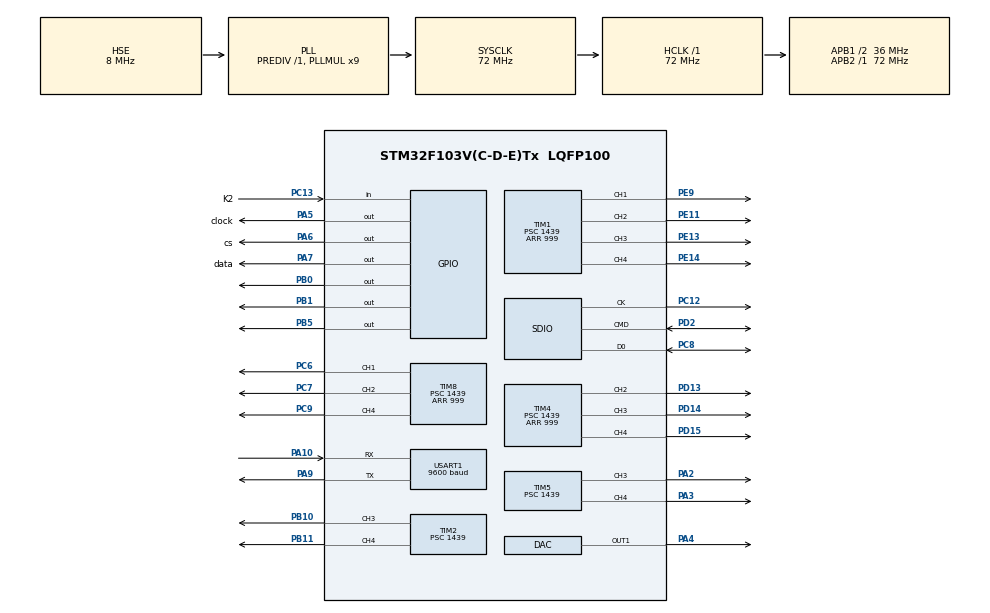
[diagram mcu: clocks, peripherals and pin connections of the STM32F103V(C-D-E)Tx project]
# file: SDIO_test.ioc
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DAC.DAC_Trigger=DAC_TRIGGER_T6_TRGO
Dma.DAC_CH1.0.Direction=DMA_MEMORY_TO_PERIPH
Dma.DAC_CH1.0.Instance=DMA2_Channel3
Dma.DAC_CH1.0.MemDataAlignment=DMA_MDATAALIGN_HALFWORD
Dma.DAC_CH1.0.MemInc=DMA_MINC_ENABLE
Dma.DAC_CH1.0.Mode=DMA_NORMAL
Dma.DAC_CH1.0.PeriphDataAlignment=DMA_PDATAALIGN_HALFWORD
Dma.DAC_CH1.0.PeriphInc=DMA_PINC_DISABLE
Dma.DAC_CH1.0.Priority=DMA_PRIORITY_LOW
Dma.Request0=DAC_CH1
Mcu.Family=STM32F1
Mcu.Name=STM32F103V(C-D-E)Tx
Mcu.Package=LQFP100
NVIC.DMA2_Channel3_IRQn=true\:0\:0\:false\:false\:true\:false\:true
NVIC.PriorityGroup=NVIC_PRIORITYGROUP_4
NVIC.TIM6_IRQn=true\:0\:0\:false\:false\:true\:true\:true
OSC_IN.Mode=HSE-External-Oscillator
OSC_IN.Signal=RCC_OSC_IN
OSC_OUT.Mode=HSE-External-Oscillator
OSC_OUT.Signal=RCC_OSC_OUT
PA10.Mode=Asynchronous
PA10.Signal=USART1_RX
PA13.Mode=Serial_Wire
PA13.Signal=SYS_JTMS-SWDIO
PA14.Mode=Serial_Wire
PA14.Signal=SYS_JTCK-SWCLK
PA2.Signal=S_TIM5_CH3
PA3.Signal=S_TIM5_CH4
PA4.Signal=COMP_DAC1_group
PA5.GPIO_Label=clock
PA5.Signal=GPIO_Output
PA6.GPIO_Label=cs
PA6.Signal=GPIO_Output
PA7.GPIO_Label=data
PA7.Signal=GPIO_Output
PA9.Mode=Asynchronous
PA9.Signal=USART1_TX
PB0.GPIO_Speed=GPIO_SPEED_FREQ_HIGH
PB0.Signal=GPIO_Output
PB1.GPIO_Speed=GPIO_SPEED_FREQ_HIGH
PB1.Signal=GPIO_Output
PB10.Signal=S_TIM2_CH3
PB11.Signal=S_TIM2_CH4
PB5.GPIO_Speed=GPIO_SPEED_FREQ_HIGH
PB5.PinState=GPIO_PIN_SET
PB5.Signal=GPIO_Output
PC12.Mode=SD_1_bit
PC12.Signal=SDIO_CK
PC13-TAMPER-RTC.GPIO_Label=K2
PC13-TAMPER-RTC.Signal=GPIO_Input
PC14-OSC32_IN.Mode=LSE-External-Oscillator
PC14-OSC32_IN.Signal=RCC_OSC32_IN
PC15-OSC32_OUT.Mode=LSE-External-Oscillator
PC15-OSC32_OUT.Signal=RCC_OSC32_OUT
PC6.Signal=S_TIM8_CH1
PC7.Signal=S_TIM8_CH2
PC8.Mode=SD_1_bit
PC8.Signal=SDIO_D0
PC9.Signal=S_TIM8_CH4
PD13.Signal=S_TIM4_CH2
PD14.Signal=S_TIM4_CH3
PD15.Signal=S_TIM4_CH4
PD2.Mode=SD_1_bit
PD2.Signal=SDIO_CMD
PE11.Signal=S_TIM1_CH2
PE13.Signal=S_TIM1_CH3
PE14.Signal=S_TIM1_CH4
PE9.Signal=S_TIM1_CH1
ProjectManager.HeapSize=0x2000
ProjectManager.StackSize=0x4000
ProjectManager.TargetToolchain=MDK-ARM V5
RCC.AHBFreq_Value=72000000
RCC.APB1CLKDivider=RCC_HCLK_DIV2
RCC.APB1Freq_Value=36000000
RCC.APB1TimFreq_Value=72000000
RCC.APB2Freq_Value=72000000
RCC.APB2TimFreq_Value=72000000
RCC.HCLKFreq_Value=72000000
RCC.PLLMUL=RCC_PLL_MUL9
RCC.PLLSourceVirtual=RCC_PLLSOURCE_HSE
RCC.SYSCLKFreq_VALUE=72000000
RCC.SYSCLKSource=RCC_SYSCLKSOURCE_PLLCLK
RCC.USBFreq_Value=72000000
SDIO.ClockDiv=4
SH.COMP_DAC1_group.0=DAC_OUT1,DAC_OUT1
SH.S_TIM1_CH1.0=TIM1_CH1,PWM Generation1 CH1
SH.S_TIM1_CH2.0=TIM1_CH2,PWM Generation2 CH2
SH.S_TIM1_CH3.0=TIM1_CH3,PWM Generation3 CH3
SH.S_TIM1_CH4.0=TIM1_CH4,PWM Generation4 CH4
SH.S_TIM2_CH3.0=TIM2_CH3,PWM Generation3 CH3
SH.S_TIM2_CH4.0=TIM2_CH4,PWM Generation4 CH4
SH.S_TIM4_CH2.0=TIM4_CH2,PWM Generation2 CH2
SH.S_TIM4_CH3.0=TIM4_CH3,PWM Generation3 CH3
SH.S_TIM4_CH4.0=TIM4_CH4,PWM Generation4 CH4
SH.S_TIM5_CH3.0=TIM5_CH3,PWM Generation3 CH3
SH.S_TIM5_CH4.0=TIM5_CH4,PWM Generation4 CH4
SH.S_TIM8_CH1.0=TIM8_CH1,PWM Generation1 CH1
SH.S_TIM8_CH2.0=TIM8_CH2,PWM Generation2 CH2
SH.S_TIM8_CH4.0=TIM8_CH4,PWM Generation4 CH4
TIM1.Channel-PWM\ Generation1\ CH1=TIM_CHANNEL_1
TIM1.Channel-PWM\ Generation2\ CH2=TIM_CHANNEL_2
TIM1.Channel-PWM\ Generation3\ CH3=TIM_CHANNEL_3
TIM1.Channel-PWM\ Generation4\ CH4=TIM_CHANNEL_4
TIM1.Period=999
TIM1.Prescaler=1439
TIM2.Channel-PWM\ Generation3\ CH3=TIM_CHANNEL_3
TIM2.Channel-PWM\ Generation4\ CH4=TIM_CHANNEL_4
TIM2.Period=999
TIM2.Prescaler=1439
TIM4.Channel-PWM\ Generation2\ CH2=TIM_CHANNEL_2
TIM4.Channel-PWM\ Generation3\ CH3=TIM_CHANNEL_3
TIM4.Channel-PWM\ Generation4\ CH4=TIM_CHANNEL_4
TIM4.Period=999
TIM4.Prescaler=1439
TIM5.Channel-PWM\ Generation3\ CH3=TIM_CHANNEL_3
TIM5.Channel-PWM\ Generation4\ CH4=TIM_CHANNEL_4
TIM5.Period=999
TIM5.Prescaler=1439
TIM6.Period=8999
TIM6.Prescaler=0
TIM6.TIM_MasterOutputTrigger=TIM_TRGO_UPDATE
TIM8.Channel-PWM\ Generation1\ CH1=TIM_CHANNEL_1
TIM8.Channel-PWM\ Generation2\ CH2=TIM_CHANNEL_2
TIM8.Channel-PWM\ Generation4\ CH4=TIM_CHANNEL_4
TIM8.Period=999
TIM8.Prescaler=1439
USART1.BaudRate=9600
USART1.VirtualMode=VM_ASYNC
VP_FATFS_VS_SDIO.Mode=SDIO
VP_TIM1_VS_ClockSourceINT.Mode=Internal
VP_TIM2_VS_ClockSourceINT.Mode=Internal
VP_TIM4_VS_ClockSourceINT.Mode=Internal
VP_TIM5_VS_ClockSourceINT.Mode=Internal
VP_TIM6_VS_ClockSourceINT.Mode=Enable_Timer
VP_TIM8_VS_ClockSourceINT.Mode=Internal
board=custom

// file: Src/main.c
/* USER CODE BEGIN Header */
/**
  ******************************************************************************
  * @file           : main.c
  * @brief          : Main program body
  ******************************************************************************
  * @attention
  *
  * <h2><center>&copy; Copyright (c) 2019 STMicroelectronics.
  * All rights reserved.</center></h2>
  *
  * This software component is licensed by ST under Ultimate Liberty license
  * SLA0044, the "License"; You may not use this file except in compliance with
  * the License. You may obtain a copy of the License at:
  *                             www.st.com/SLA0044
  *
  ******************************************************************************
  */
/* USER CODE END Header */

#include "main.h"
#include "fatfs.h"

/* USER CODE BEGIN Includes */
#include "led.h"
#include "servo.h"
#include "sound.h"
/* USER CODE END Includes */

DAC_HandleTypeDef hdac;
DMA_HandleTypeDef hdma_dac_ch1;

SD_HandleTypeDef hsd;

TIM_HandleTypeDef htim1;
TIM_HandleTypeDef htim2;
TIM_HandleTypeDef htim4;
TIM_HandleTypeDef htim5;
TIM_HandleTypeDef htim6;
TIM_HandleTypeDef htim8;

UART_HandleTypeDef huart1;

/* USER CODE BEGIN PV */

/*
uint16_t sine_wave_array[32] = {2047, 1648, 1264, 910, 600,  345,
                    156, 39,  0,  39,  156,  345,
                    600, 910, 1264, 1648, 2048, 2447,
                    2831, 3185, 3495, 3750, 3939, 4056,
                    4095, 4056, 3939, 3750, 3495, 3185,
                    2831, 2447};
  */
uint16_t sine_wave_array[32] = {0xFF,0,0,0,0,0,0,0,0,0,0,0,0,0,0,0,0,0,0,0,0,0,0,0,0,0,0,0,0,0,0,0};

/* USER CODE END PV */

void SystemClock_Config(void);
static void MX_GPIO_Init(void);
static void MX_DMA_Init(void);
static void MX_SDIO_SD_Init(void);
static void MX_DAC_Init(void);
static void MX_TIM1_Init(void);
static void MX_TIM2_Init(void);
static void MX_TIM4_Init(void);
static void MX_TIM5_Init(void);
static void MX_TIM6_Init(void);
static void MX_TIM8_Init(void);
static void MX_USART1_UART_Init(void);

/* USER CODE BEGIN 0 */

uint8_t strK1[]="K1 is Pressed\n";
uint8_t strK2[]="K2 is Pressed\n";
uint8_t Rxstr[1];
FATFS myFATFS;

/*  // new sound version test
uint16_t wav_buffer1[1000];
uint16_t wav_buffer2[1000];
int wav_size = 1000;
FIL myFILE;

UINT numberofbytes =2;
char myPath[] = "TEST.TXT\0";
void data_shift_right_4 (uint16_t x[1000]){
	for(int i=0;i<1000;i++){
		x[i] = x[i]>>4;    // shift right by 4
		if(x[i]<0x800){ x[i]=0x800+x[i];}// zero is at 2048 (0x800),for any value smaller than 0x800 need to be 2048-x
		else{x[i]=x[i]-0x800;}     // Signed int , 0xFFF is 1, so consider smaller than
	}
}

void pullData(void) {

	f_read(&myFILE,wav_buffer1, sizeof(wav_buffer1)*2, &numberofbytes);
	data_shift_right_4(wav_buffer1);
}

uint32_t getUs(void) {
uint32_t usTicks = HAL_RCC_GetSysClockFreq() / 1000000;
register uint32_t ms, cycle_cnt;
do {
ms = HAL_GetTick();
cycle_cnt = SysTick->VAL;
} while (ms != HAL_GetTick());
return (ms * 1000) + (usTicks * 1000 - cycle_cnt) / usTicks;
}
void delayus(uint16_t micros) {
uint32_t start = getUs();
while (getUs()-start < (uint32_t) micros) {__ASM("nop");}
}
*/

/* USER CODE END 0 */

int main(void)
{

  /* MCU Configuration--------------------------------------------------------*/

  /* Reset of all peripherals, Initializes the Flash interface and the Systick. */
  HAL_Init();

  /* Configure the system clock */
  SystemClock_Config();

  /* Initialize all configured peripherals */
  MX_GPIO_Init();
  MX_DMA_Init();
  MX_SDIO_SD_Init();
  MX_FATFS_Init();
  MX_DAC_Init();
  MX_TIM1_Init();
  MX_TIM2_Init();
  MX_TIM4_Init();
  MX_TIM5_Init();
  MX_TIM6_Init();
  MX_TIM8_Init();
  MX_USART1_UART_Init();
  /* USER CODE BEGIN 2 */

	FRESULT res;

	// Led matrix part
	max_init (); //  from the led.h
	led_startup ();
	HAL_Delay(1000);
	// Led matrix part

	// Servo init
	// Timer 1
 HAL_TIM_PWM_Start(t1, ch1);  //E9  O
 HAL_TIM_PWM_Start(t1, ch2);  //E11 O
 HAL_TIM_PWM_Start(t1, ch3);  //E13 O
 HAL_TIM_PWM_Start(t1, ch4);  //E14 O
 // Timer 2
 HAL_TIM_PWM_Start(t2, ch3);	//B10 O
 HAL_TIM_PWM_Start(t2, ch4);	//B11 O
 // Timer 3 (8)
 HAL_TIM_PWM_Start(t3, ch1);	//C6 O
 HAL_TIM_PWM_Start(t3, ch2);  //C7 O
 HAL_TIM_PWM_Start(t3, ch4);  //C9 O
 // Timer 4
 HAL_TIM_PWM_Start(t4, ch2);  //D13 O
 HAL_TIM_PWM_Start(t4, ch3);	//D14 O
 HAL_TIM_PWM_Start(t4, ch4);	//D15 O
 // Timer 5
 HAL_TIM_PWM_Start(t5, ch3);	//A2 O
 HAL_TIM_PWM_Start(t5, ch4);	//A3 O
 servo_stand();
// Servo init
HAL_DAC_Stop_DMA(&hdac, DAC_CHANNEL_1);
HAL_DAC_Start(&hdac,DAC_CHANNEL_1);

  res = f_mount(&myFATFS,SDPath,1);
	if (res == FR_OK)
	{
		HAL_GPIO_WritePin(GPIOB, GPIO_PIN_0,GPIO_PIN_RESET);

		/* // new sound test
		f_open(&myFILE, myPath, FA_WRITE |FA_CREATE_ALWAYS);
		f_write(&myFILE, wav_buffer1, sizeof(wav_buffer1), &numberofbytes);
		f_close(&myFILE);
		HAL_Delay(1000);

		res = f_open(&myFILE, "ta2.wav\0", FA_READ |FA_OPEN_ALWAYS);
		// data locate part
			char locate[4];
			const char word[4]= "data";
			int count =0;
			while(strncmp(locate,word,4)){
			count++;
			res = f_lseek(&myFILE,count);
			f_read(&myFILE,locate, 4, &numberofbytes);
			}
			f_close(&myFILE);
		// data locate part end

*/
		/*		 // Version 1

			HAL_DAC_Stop_DMA(&hdac, DAC_CHANNEL_1);
			f_read(&myFILE, wav_buffer2, 8000, &numberofbytes);
			data_shift_right_4(wav_buffer2);
			HAL_DAC_Start_DMA(&hdac, DAC_CHANNEL_1, (uint32_t*)wav_buffer2, 4000, DAC_ALIGN_12B_R);

			int wav_buffer_flag =1;
				while(!f_eof(&myFILE)){

					if (HAL_DMA_STATE_READY == HAL_DMA_GetState(&hdma_dac_ch1)){  // only true when it is not busy

					HAL_DAC_Stop_DMA(&hdac, DAC_CHANNEL_1);

					if(wav_buffer_flag == 0){
					f_read(&myFILE, wav_buffer1, 8000, &numberofbytes);
					data_shift_right_4(wav_buffer1);  // shift the data to right by 4
					HAL_DAC_Start_DMA(&hdac, DAC_CHANNEL_1, (uint32_t*)wav_buffer2, 4000, DAC_ALIGN_12B_R);
					wav_buffer_flag = 1;
					}else{
					f_read(&myFILE, wav_buffer2, 8000, &numberofbytes);
					data_shift_right_4(wav_buffer2);  // shift the data to right by 4
					HAL_DAC_Start_DMA(&hdac, DAC_CHANNEL_1, (uint32_t*)wav_buffer1, 4000, DAC_ALIGN_12B_R);
					wav_buffer_flag = 0;
					}
					}

				}
					HAL_DAC_Stop_DMA(&hdac, DAC_CHANNEL_1);
		f_close(&myFILE);

		*/   // end of version 1

		/*		// Version 2

				while(!f_eof(&myFILE)){
				f_read(&myFILE, wav_buffer1, 2000, &numberofbytes);
				data_shift_right_4(wav_buffer1);
					for(int i = 0; i<1000;i++){
						HAL_DAC_SetValue(&hdac, DAC_CHANNEL_1,DAC_ALIGN_12B_R,wav_buffer1[i]);
						delayus(125);
						//HAL_Delay(1);
					}
				}
				f_close(&myFILE);

		*/		// end of Version 2

		player("ta.wav\0");

		HAL_GPIO_WritePin(GPIOB, GPIO_PIN_0,GPIO_PIN_SET);
		HAL_Delay(1000);
//		f_open(&myFILE, myPath, FA_WRITE |FA_OPEN_ALWAYS);
//		f_write(&myFILE, wav_buffer1, sizeof(wav_buffer1), &numberofbytes);
//		f_close(&myFILE);

		HAL_GPIO_WritePin(GPIOB, GPIO_PIN_1,GPIO_PIN_RESET);
 	}
	else
	{
		HAL_GPIO_WritePin(GPIOB, GPIO_PIN_5,GPIO_PIN_RESET);
	}
  /* USER CODE END 2 */

  /* Infinite loop */
  while (1)
  {

    /* USER CODE BEGIN 3 */

				if (HAL_GPIO_ReadPin(GPIOC, GPIO_PIN_13) == GPIO_PIN_SET) {
			HAL_UART_Transmit(&huart1,strK2,sizeof(strK2)-1,100);
		}

				if (HAL_UART_Receive(&huart1,Rxstr,1,100)==HAL_OK) {
		  if (Rxstr[0] == 0x30) {
				HAL_GPIO_WritePin(GPIOB, GPIO_PIN_0|GPIO_PIN_1|GPIO_PIN_5, GPIO_PIN_SET);
				write_string ("AB");
			}
			else if (Rxstr[0] == 'R') {
				HAL_GPIO_WritePin(GPIOB, GPIO_PIN_0|GPIO_PIN_1, GPIO_PIN_SET);
				HAL_GPIO_WritePin(GPIOB, GPIO_PIN_5, GPIO_PIN_RESET);
				led_d_face(d_face);
				servo_stand();
			}
			else if (Rxstr[0] == 'G') {
				HAL_GPIO_WritePin(GPIOB, GPIO_PIN_5|GPIO_PIN_1, GPIO_PIN_SET);
				HAL_GPIO_WritePin(GPIOB, GPIO_PIN_0, GPIO_PIN_RESET);
				led_d_face(d_left);
				servo_turn_right(1);
			}
			else if (Rxstr[0] == 'B') {
				HAL_GPIO_WritePin(GPIOB, GPIO_PIN_5|GPIO_PIN_0, GPIO_PIN_SET);
				HAL_GPIO_WritePin(GPIOB, GPIO_PIN_1, GPIO_PIN_RESET);
				led_d_face(d_right);
				servo_turn_left(1);
			}
			else if (Rxstr[0] == 'K') {
				servo_init_walking();
				while(1){
				servo_walking_forward();
				if (HAL_UART_Receive(&huart1,Rxstr,1,100)==HAL_OK && Rxstr[0] == 'S' ) break;
				}
				servo_stand();
			}
				HAL_UART_Transmit(&huart1,Rxstr,sizeof(Rxstr),100);
		}
		led_d_face(blink);
		//	Delay_us(500);

  }
  /* USER CODE END 3 */
}

void SystemClock_Config(void)
{
  RCC_OscInitTypeDef RCC_OscInitStruct = {0};
  RCC_ClkInitTypeDef RCC_ClkInitStruct = {0};

  /** Initializes the CPU, AHB and APB busses clocks
  */
  RCC_OscInitStruct.OscillatorType = RCC_OSCILLATORTYPE_HSE;
  RCC_OscInitStruct.HSEState = RCC_HSE_ON;
  RCC_OscInitStruct.HSEPredivValue = RCC_HSE_PREDIV_DIV1;
  RCC_OscInitStruct.HSIState = RCC_HSI_ON;
  RCC_OscInitStruct.PLL.PLLState = RCC_PLL_ON;
  RCC_OscInitStruct.PLL.PLLSource = RCC_PLLSOURCE_HSE;
  RCC_OscInitStruct.PLL.PLLMUL = RCC_PLL_MUL9;
  if (HAL_RCC_OscConfig(&RCC_OscInitStruct) != HAL_OK)
  {
    Error_Handler();
  }
  /** Initializes the CPU, AHB and APB busses clocks
  */
  RCC_ClkInitStruct.ClockType = RCC_CLOCKTYPE_HCLK|RCC_CLOCKTYPE_SYSCLK
                              |RCC_CLOCKTYPE_PCLK1|RCC_CLOCKTYPE_PCLK2;
  RCC_ClkInitStruct.SYSCLKSource = RCC_SYSCLKSOURCE_PLLCLK;
  RCC_ClkInitStruct.AHBCLKDivider = RCC_SYSCLK_DIV1;
  RCC_ClkInitStruct.APB1CLKDivider = RCC_HCLK_DIV2;
  RCC_ClkInitStruct.APB2CLKDivider = RCC_HCLK_DIV1;

  if (HAL_RCC_ClockConfig(&RCC_ClkInitStruct, FLASH_LATENCY_2) != HAL_OK)
  {
    Error_Handler();
  }
}

static void MX_DAC_Init(void)
{

  DAC_ChannelConfTypeDef sConfig = {0};

  /** DAC Initialization
  */
  hdac.Instance = DAC;
  if (HAL_DAC_Init(&hdac) != HAL_OK)
  {
    Error_Handler();
  }
  /** DAC channel OUT1 config
  */
  sConfig.DAC_Trigger = DAC_TRIGGER_T6_TRGO;
  sConfig.DAC_OutputBuffer = DAC_OUTPUTBUFFER_ENABLE;
  if (HAL_DAC_ConfigChannel(&hdac, &sConfig, DAC_CHANNEL_1) != HAL_OK)
  {
    Error_Handler();
  }

}

static void MX_SDIO_SD_Init(void)
{

  hsd.Instance = SDIO;
  hsd.Init.ClockEdge = SDIO_CLOCK_EDGE_RISING;
  hsd.Init.ClockBypass = SDIO_CLOCK_BYPASS_DISABLE;
  hsd.Init.ClockPowerSave = SDIO_CLOCK_POWER_SAVE_DISABLE;
  hsd.Init.BusWide = SDIO_BUS_WIDE_1B;
  hsd.Init.HardwareFlowControl = SDIO_HARDWARE_FLOW_CONTROL_DISABLE;
  hsd.Init.ClockDiv = 4;

}

static void MX_TIM1_Init(void)
{

  TIM_ClockConfigTypeDef sClockSourceConfig = {0};
  TIM_MasterConfigTypeDef sMasterConfig = {0};
  TIM_OC_InitTypeDef sConfigOC = {0};
  TIM_BreakDeadTimeConfigTypeDef sBreakDeadTimeConfig = {0};

  htim1.Instance = TIM1;
  htim1.Init.Prescaler = 1439;
  htim1.Init.CounterMode = TIM_COUNTERMODE_UP;
  htim1.Init.Period = 999;
  htim1.Init.ClockDivision = TIM_CLOCKDIVISION_DIV1;
  htim1.Init.RepetitionCounter = 0;
  htim1.Init.AutoReloadPreload = TIM_AUTORELOAD_PRELOAD_DISABLE;
  if (HAL_TIM_Base_Init(&htim1) != HAL_OK)
  {
    Error_Handler();
  }
  sClockSourceConfig.ClockSource = TIM_CLOCKSOURCE_INTERNAL;
  if (HAL_TIM_ConfigClockSource(&htim1, &sClockSourceConfig) != HAL_OK)
  {
    Error_Handler();
  }
  if (HAL_TIM_PWM_Init(&htim1) != HAL_OK)
  {
    Error_Handler();
  }
  sMasterConfig.MasterOutputTrigger = TIM_TRGO_RESET;
  sMasterConfig.MasterSlaveMode = TIM_MASTERSLAVEMODE_DISABLE;
  if (HAL_TIMEx_MasterConfigSynchronization(&htim1, &sMasterConfig) != HAL_OK)
  {
    Error_Handler();
  }
  sConfigOC.OCMode = TIM_OCMODE_PWM1;
  sConfigOC.Pulse = 0;
  sConfigOC.OCPolarity = TIM_OCPOLARITY_HIGH;
  sConfigOC.OCNPolarity = TIM_OCNPOLARITY_HIGH;
  sConfigOC.OCFastMode = TIM_OCFAST_DISABLE;
  sConfigOC.OCIdleState = TIM_OCIDLESTATE_RESET;
  sConfigOC.OCNIdleState = TIM_OCNIDLESTATE_RESET;
  if (HAL_TIM_PWM_ConfigChannel(&htim1, &sConfigOC, TIM_CHANNEL_1) != HAL_OK)
  {
    Error_Handler();
  }
  if (HAL_TIM_PWM_ConfigChannel(&htim1, &sConfigOC, TIM_CHANNEL_2) != HAL_OK)
  {
    Error_Handler();
  }
  if (HAL_TIM_PWM_ConfigChannel(&htim1, &sConfigOC, TIM_CHANNEL_3) != HAL_OK)
  {
    Error_Handler();
  }
  if (HAL_TIM_PWM_ConfigChannel(&htim1, &sConfigOC, TIM_CHANNEL_4) != HAL_OK)
  {
    Error_Handler();
  }
  sBreakDeadTimeConfig.OffStateRunMode = TIM_OSSR_DISABLE;
  sBreakDeadTimeConfig.OffStateIDLEMode = TIM_OSSI_DISABLE;
  sBreakDeadTimeConfig.LockLevel = TIM_LOCKLEVEL_OFF;
  sBreakDeadTimeConfig.DeadTime = 0;
  sBreakDeadTimeConfig.BreakState = TIM_BREAK_DISABLE;
  sBreakDeadTimeConfig.BreakPolarity = TIM_BREAKPOLARITY_HIGH;
  sBreakDeadTimeConfig.AutomaticOutput = TIM_AUTOMATICOUTPUT_DISABLE;
  if (HAL_TIMEx_ConfigBreakDeadTime(&htim1, &sBreakDeadTimeConfig) != HAL_OK)
  {
    Error_Handler();
  }
  HAL_TIM_MspPostInit(&htim1);

}

static void MX_TIM2_Init(void)
{

  TIM_ClockConfigTypeDef sClockSourceConfig = {0};
  TIM_MasterConfigTypeDef sMasterConfig = {0};
  TIM_OC_InitTypeDef sConfigOC = {0};

  htim2.Instance = TIM2;
  htim2.Init.Prescaler = 1439;
  htim2.Init.CounterMode = TIM_COUNTERMODE_UP;
  htim2.Init.Period = 999;
  htim2.Init.ClockDivision = TIM_CLOCKDIVISION_DIV1;
  htim2.Init.AutoReloadPreload = TIM_AUTORELOAD_PRELOAD_DISABLE;
  if (HAL_TIM_Base_Init(&htim2) != HAL_OK)
  {
    Error_Handler();
  }
  sClockSourceConfig.ClockSource = TIM_CLOCKSOURCE_INTERNAL;
  if (HAL_TIM_ConfigClockSource(&htim2, &sClockSourceConfig) != HAL_OK)
  {
    Error_Handler();
  }
  if (HAL_TIM_PWM_Init(&htim2) != HAL_OK)
  {
    Error_Handler();
  }
  sMasterConfig.MasterOutputTrigger = TIM_TRGO_RESET;
  sMasterConfig.MasterSlaveMode = TIM_MASTERSLAVEMODE_DISABLE;
  if (HAL_TIMEx_MasterConfigSynchronization(&htim2, &sMasterConfig) != HAL_OK)
  {
    Error_Handler();
  }
  sConfigOC.OCMode = TIM_OCMODE_PWM1;
  sConfigOC.Pulse = 0;
  sConfigOC.OCPolarity = TIM_OCPOLARITY_HIGH;
  sConfigOC.OCFastMode = TIM_OCFAST_DISABLE;
  if (HAL_TIM_PWM_ConfigChannel(&htim2, &sConfigOC, TIM_CHANNEL_3) != HAL_OK)
  {
    Error_Handler();
  }
  if (HAL_TIM_PWM_ConfigChannel(&htim2, &sConfigOC, TIM_CHANNEL_4) != HAL_OK)
  {
    Error_Handler();
  }
  HAL_TIM_MspPostInit(&htim2);

}

static void MX_TIM4_Init(void)
{

  TIM_ClockConfigTypeDef sClockSourceConfig = {0};
  TIM_MasterConfigTypeDef sMasterConfig = {0};
  TIM_OC_InitTypeDef sConfigOC = {0};

  htim4.Instance = TIM4;
  htim4.Init.Prescaler = 1439;
  htim4.Init.CounterMode = TIM_COUNTERMODE_UP;
  htim4.Init.Period = 999;
  htim4.Init.ClockDivision = TIM_CLOCKDIVISION_DIV1;
  htim4.Init.AutoReloadPreload = TIM_AUTORELOAD_PRELOAD_DISABLE;
  if (HAL_TIM_Base_Init(&htim4) != HAL_OK)
  {
    Error_Handler();
  }
  sClockSourceConfig.ClockSource = TIM_CLOCKSOURCE_INTERNAL;
  if (HAL_TIM_ConfigClockSource(&htim4, &sClockSourceConfig) != HAL_OK)
  {
    Error_Handler();
  }
  if (HAL_TIM_PWM_Init(&htim4) != HAL_OK)
  {
    Error_Handler();
  }
  sMasterConfig.MasterOutputTrigger = TIM_TRGO_RESET;
  sMasterConfig.MasterSlaveMode = TIM_MASTERSLAVEMODE_DISABLE;
  if (HAL_TIMEx_MasterConfigSynchronization(&htim4, &sMasterConfig) != HAL_OK)
  {
    Error_Handler();
  }
  sConfigOC.OCMode = TIM_OCMODE_PWM1;
  sConfigOC.Pulse = 0;
  sConfigOC.OCPolarity = TIM_OCPOLARITY_HIGH;
  sConfigOC.OCFastMode = TIM_OCFAST_DISABLE;
  if (HAL_TIM_PWM_ConfigChannel(&htim4, &sConfigOC, TIM_CHANNEL_2) != HAL_OK)
  {
    Error_Handler();
  }
  if (HAL_TIM_PWM_ConfigChannel(&htim4, &sConfigOC, TIM_CHANNEL_3) != HAL_OK)
  {
    Error_Handler();
  }
  if (HAL_TIM_PWM_ConfigChannel(&htim4, &sConfigOC, TIM_CHANNEL_4) != HAL_OK)
  {
    Error_Handler();
  }
  HAL_TIM_MspPostInit(&htim4);

}

static void MX_TIM5_Init(void)
{

  TIM_ClockConfigTypeDef sClockSourceConfig = {0};
  TIM_MasterConfigTypeDef sMasterConfig = {0};
  TIM_OC_InitTypeDef sConfigOC = {0};

  htim5.Instance = TIM5;
  htim5.Init.Prescaler = 1439;
  htim5.Init.CounterMode = TIM_COUNTERMODE_UP;
  htim5.Init.Period = 999;
  htim5.Init.ClockDivision = TIM_CLOCKDIVISION_DIV1;
  htim5.Init.AutoReloadPreload = TIM_AUTORELOAD_PRELOAD_DISABLE;
  if (HAL_TIM_Base_Init(&htim5) != HAL_OK)
  {
    Error_Handler();
  }
  sClockSourceConfig.ClockSource = TIM_CLOCKSOURCE_INTERNAL;
  if (HAL_TIM_ConfigClockSource(&htim5, &sClockSourceConfig) != HAL_OK)
  {
    Error_Handler();
  }
  if (HAL_TIM_PWM_Init(&htim5) != HAL_OK)
  {
    Error_Handler();
  }
  sMasterConfig.MasterOutputTrigger = TIM_TRGO_RESET;
  sMasterConfig.MasterSlaveMode = TIM_MASTERSLAVEMODE_DISABLE;
  if (HAL_TIMEx_MasterConfigSynchronization(&htim5, &sMasterConfig) != HAL_OK)
  {
    Error_Handler();
  }
  sConfigOC.OCMode = TIM_OCMODE_PWM1;
  sConfigOC.Pulse = 0;
  sConfigOC.OCPolarity = TIM_OCPOLARITY_HIGH;
  sConfigOC.OCFastMode = TIM_OCFAST_DISABLE;
  if (HAL_TIM_PWM_ConfigChannel(&htim5, &sConfigOC, TIM_CHANNEL_3) != HAL_OK)
  {
    Error_Handler();
  }
  if (HAL_TIM_PWM_ConfigChannel(&htim5, &sConfigOC, TIM_CHANNEL_4) != HAL_OK)
  {
    Error_Handler();
  }
  HAL_TIM_MspPostInit(&htim5);

}

static void MX_TIM6_Init(void)
{

  TIM_MasterConfigTypeDef sMasterConfig = {0};

  htim6.Instance = TIM6;
  htim6.Init.Prescaler = 0;
  htim6.Init.CounterMode = TIM_COUNTERMODE_UP;
  htim6.Init.Period = 8999;
  htim6.Init.AutoReloadPreload = TIM_AUTORELOAD_PRELOAD_DISABLE;
  if (HAL_TIM_Base_Init(&htim6) != HAL_OK)
  {
    Error_Handler();
  }
  sMasterConfig.MasterOutputTrigger = TIM_TRGO_UPDATE;
  sMasterConfig.MasterSlaveMode = TIM_MASTERSLAVEMODE_DISABLE;
  if (HAL_TIMEx_MasterConfigSynchronization(&htim6, &sMasterConfig) != HAL_OK)
  {
    Error_Handler();
  }

}

static void MX_TIM8_Init(void)
{

  TIM_ClockConfigTypeDef sClockSourceConfig = {0};
  TIM_MasterConfigTypeDef sMasterConfig = {0};
  TIM_OC_InitTypeDef sConfigOC = {0};
  TIM_BreakDeadTimeConfigTypeDef sBreakDeadTimeConfig = {0};

  htim8.Instance = TIM8;
  htim8.Init.Prescaler = 1439;
  htim8.Init.CounterMode = TIM_COUNTERMODE_UP;
  htim8.Init.Period = 999;
  htim8.Init.ClockDivision = TIM_CLOCKDIVISION_DIV1;
  htim8.Init.RepetitionCounter = 0;
  htim8.Init.AutoReloadPreload = TIM_AUTORELOAD_PRELOAD_DISABLE;
  if (HAL_TIM_Base_Init(&htim8) != HAL_OK)
  {
    Error_Handler();
  }
  sClockSourceConfig.ClockSource = TIM_CLOCKSOURCE_INTERNAL;
  if (HAL_TIM_ConfigClockSource(&htim8, &sClockSourceConfig) != HAL_OK)
  {
    Error_Handler();
  }
  if (HAL_TIM_PWM_Init(&htim8) != HAL_OK)
  {
    Error_Handler();
  }
  sMasterConfig.MasterOutputTrigger = TIM_TRGO_RESET;
  sMasterConfig.MasterSlaveMode = TIM_MASTERSLAVEMODE_DISABLE;
  if (HAL_TIMEx_MasterConfigSynchronization(&htim8, &sMasterConfig) != HAL_OK)
  {
    Error_Handler();
  }
  sConfigOC.OCMode = TIM_OCMODE_PWM1;
  sConfigOC.Pulse = 0;
  sConfigOC.OCPolarity = TIM_OCPOLARITY_HIGH;
  sConfigOC.OCNPolarity = TIM_OCNPOLARITY_HIGH;
  sConfigOC.OCFastMode = TIM_OCFAST_DISABLE;
  sConfigOC.OCIdleState = TIM_OCIDLESTATE_RESET;
  sConfigOC.OCNIdleState = TIM_OCNIDLESTATE_RESET;
  if (HAL_TIM_PWM_ConfigChannel(&htim8, &sConfigOC, TIM_CHANNEL_1) != HAL_OK)
  {
    Error_Handler();
  }
  if (HAL_TIM_PWM_ConfigChannel(&htim8, &sConfigOC, TIM_CHANNEL_2) != HAL_OK)
  {
    Error_Handler();
  }
  if (HAL_TIM_PWM_ConfigChannel(&htim8, &sConfigOC, TIM_CHANNEL_4) != HAL_OK)
  {
    Error_Handler();
  }
  sBreakDeadTimeConfig.OffStateRunMode = TIM_OSSR_DISABLE;
  sBreakDeadTimeConfig.OffStateIDLEMode = TIM_OSSI_DISABLE;
  sBreakDeadTimeConfig.LockLevel = TIM_LOCKLEVEL_OFF;
  sBreakDeadTimeConfig.DeadTime = 0;
  sBreakDeadTimeConfig.BreakState = TIM_BREAK_DISABLE;
  sBreakDeadTimeConfig.BreakPolarity = TIM_BREAKPOLARITY_HIGH;
  sBreakDeadTimeConfig.AutomaticOutput = TIM_AUTOMATICOUTPUT_DISABLE;
  if (HAL_TIMEx_ConfigBreakDeadTime(&htim8, &sBreakDeadTimeConfig) != HAL_OK)
  {
    Error_Handler();
  }
  HAL_TIM_MspPostInit(&htim8);

}

static void MX_USART1_UART_Init(void)
{

  huart1.Instance = USART1;
  huart1.Init.BaudRate = 9600;
  huart1.Init.WordLength = UART_WORDLENGTH_8B;
  huart1.Init.StopBits = UART_STOPBITS_1;
  huart1.Init.Parity = UART_PARITY_NONE;
  huart1.Init.Mode = UART_MODE_TX_RX;
  huart1.Init.HwFlowCtl = UART_HWCONTROL_NONE;
  huart1.Init.OverSampling = UART_OVERSAMPLING_16;
  if (HAL_UART_Init(&huart1) != HAL_OK)
  {
    Error_Handler();
  }

}

static void MX_DMA_Init(void)
{
  /* DMA controller clock enable */
  __HAL_RCC_DMA2_CLK_ENABLE();

  /* DMA interrupt init */
  /* DMA2_Channel3_IRQn interrupt configuration */
  HAL_NVIC_SetPriority(DMA2_Channel3_IRQn, 0, 0);
  HAL_NVIC_EnableIRQ(DMA2_Channel3_IRQn);

}

static void MX_GPIO_Init(void)
{
  GPIO_InitTypeDef GPIO_InitStruct = {0};

  /* GPIO Ports Clock Enable */
  __HAL_RCC_GPIOC_CLK_ENABLE();
  __HAL_RCC_GPIOA_CLK_ENABLE();
  __HAL_RCC_GPIOB_CLK_ENABLE();
  __HAL_RCC_GPIOE_CLK_ENABLE();
  __HAL_RCC_GPIOD_CLK_ENABLE();

  /*Configure GPIO pin Output Level */
  HAL_GPIO_WritePin(GPIOA, clock_Pin|cs_Pin|data_Pin, GPIO_PIN_RESET);

  /*Configure GPIO pin Output Level */
  HAL_GPIO_WritePin(GPIOB, GPIO_PIN_0|GPIO_PIN_1, GPIO_PIN_RESET);

  /*Configure GPIO pin Output Level */
  HAL_GPIO_WritePin(GPIOB, GPIO_PIN_5, GPIO_PIN_SET);

  /*Configure GPIO pin : K2_Pin */
  GPIO_InitStruct.Pin = K2_Pin;
  GPIO_InitStruct.Mode = GPIO_MODE_INPUT;
  GPIO_InitStruct.Pull = GPIO_NOPULL;
  HAL_GPIO_Init(K2_GPIO_Port, &GPIO_InitStruct);

  /*Configure GPIO pins : clock_Pin cs_Pin data_Pin */
  GPIO_InitStruct.Pin = clock_Pin|cs_Pin|data_Pin;
  GPIO_InitStruct.Mode = GPIO_MODE_OUTPUT_PP;
  GPIO_InitStruct.Pull = GPIO_NOPULL;
  GPIO_InitStruct.Speed = GPIO_SPEED_FREQ_LOW;
  HAL_GPIO_Init(GPIOA, &GPIO_InitStruct);

  /*Configure GPIO pins : PB0 PB1 PB5 */
  GPIO_InitStruct.Pin = GPIO_PIN_0|GPIO_PIN_1|GPIO_PIN_5;
  GPIO_InitStruct.Mode = GPIO_MODE_OUTPUT_PP;
  GPIO_InitStruct.Pull = GPIO_NOPULL;
  GPIO_InitStruct.Speed = GPIO_SPEED_FREQ_HIGH;
  HAL_GPIO_Init(GPIOB, &GPIO_InitStruct);

}

void Error_Handler(void)
{
}

/************************ (C) COPYRIGHT STMicroelectronics *****END OF FILE****/
